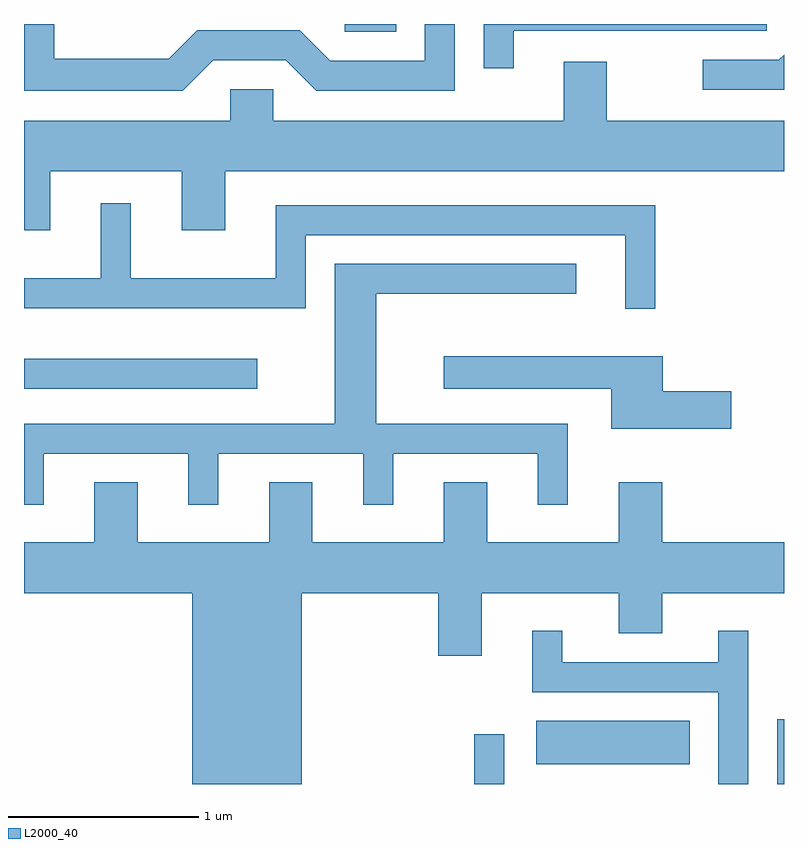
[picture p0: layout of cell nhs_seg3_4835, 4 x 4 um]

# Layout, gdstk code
import gdstk
lib = gdstk.Library(unit=1e-6, precision=1e-09)
def R(c, l, rs):  # rectangles x0, y0, x1, y1
    for r in rs: c.add(gdstk.rectangle(r[:2], r[2:], *l))
def P(c, l, *ps):  # polygons
    for p in ps: c.add(gdstk.Polygon(p, *l))
L2000_40 = (2000, 40)

nhs_seg3_4835 = lib.new_cell('nhs_seg3_4835')
R(nhs_seg3_4835, L2000_40, [(329.981,1133.892,330.139,1134.153), (331.576,1133.892,331.611,1134.234), (330.306,1133.996,331.114,1134.224), (327.611,1135.971,328.838,1136.129), (329.298,1137.851,329.569,1137.892)])
P(nhs_seg3_4835, L2000_40, [(328.607,1137.701),(328.989,1137.701),(329.149,1137.541),(329.879,1137.541),(329.879,1137.892),(329.721,1137.892),(329.721,1137.699),(329.222,1137.699),(329.062,1137.859),(328.524,1137.859),(328.374,1137.709),(327.769,1137.709),(327.769,1137.892),(327.611,1137.892),(327.611,1137.541),(328.447,1137.541)],
  [(330.189,1137.856),(331.519,1137.856),(331.519,1137.892),(330.031,1137.892),(330.031,1137.658),(330.189,1137.658)],
  [(331.611,1137.731),(331.584,1137.704),(331.183,1137.704),(331.183,1137.546),(331.611,1137.546)],
  [(327.749,1137.116),(328.441,1137.116),(328.441,1136.806),(328.669,1136.806),(328.669,1137.116),(331.611,1137.116),(331.611,1137.384),(330.679,1137.384),(330.679,1137.694),(330.451,1137.694),(330.451,1137.384),(328.924,1137.384),(328.924,1137.549),(328.696,1137.549),(328.696,1137.384),(327.611,1137.384),(327.611,1136.806),(327.749,1136.806)],
  [(330.934,1136.939),(328.936,1136.939),(328.936,1136.554),(328.174,1136.554),(328.174,1136.948),(328.016,1136.948),(328.016,1136.554),(327.611,1136.554),(327.611,1136.396),(329.094,1136.396),(329.094,1136.781),(330.776,1136.781),(330.776,1136.393),(330.934,1136.393)],
  [(327.714,1135.631),(328.476,1135.631),(328.476,1135.363),(328.634,1135.363),(328.634,1135.631),(329.396,1135.631),(329.396,1135.363),(329.554,1135.363),(329.554,1135.631),(330.316,1135.631),(330.316,1135.363),(330.474,1135.363),(330.474,1135.789),(329.464,1135.789),(329.464,1136.471),(330.518,1136.471),(330.518,1136.629),(329.246,1136.629),(329.246,1135.789),(327.611,1135.789),(327.611,1135.363),(327.714,1135.363)],
  [(331.334,1135.959),(330.974,1135.959),(330.974,1136.144),(329.821,1136.144),(329.821,1135.971),(330.701,1135.971),(330.701,1135.761),(331.334,1135.761)],
  [(329.074,1134.896),(329.791,1134.896),(329.791,1134.566),(330.019,1134.566),(330.019,1134.896),(330.741,1134.896),(330.741,1134.686),(330.969,1134.686),(330.969,1134.896),(331.611,1134.896),(331.611,1135.164),(330.969,1135.164),(330.969,1135.479),(330.741,1135.479),(330.741,1135.164),(330.049,1135.164),(330.049,1135.479),(329.821,1135.479),(329.821,1135.164),(329.129,1135.164),(329.129,1135.479),(328.901,1135.479),(328.901,1135.164),(328.209,1135.164),(328.209,1135.479),(327.981,1135.479),(327.981,1135.164),(327.611,1135.164),(327.611,1134.896),(328.496,1134.896),(328.496,1133.892),(329.074,1133.892)],
  [(331.424,1134.698),(331.266,1134.698),(331.266,1134.534),(330.444,1134.534),(330.444,1134.698),(330.286,1134.698),(330.286,1134.376),(331.266,1134.376),(331.266,1133.892),(331.424,1133.892)])

lib.write_gds('nhs_seg3_4835.gds')
